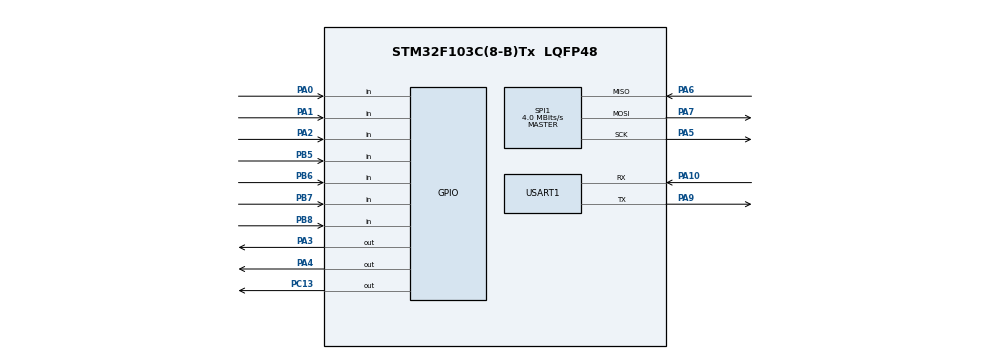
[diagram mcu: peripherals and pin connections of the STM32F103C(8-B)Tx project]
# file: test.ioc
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Mcu.Family=STM32F1
Mcu.Name=STM32F103C(8-B)Tx
Mcu.Package=LQFP48
NVIC.PriorityGroup=NVIC_PRIORITYGROUP_4
PA0-WKUP.Signal=GPIO_Input
PA1.Signal=GPIO_Input
PA10.GPIO_PuPd=GPIO_NOPULL
PA10.Mode=Asynchronous
PA10.Signal=USART1_RX
PA13.Signal=SYS_JTMS-SWDIO
PA14.Signal=SYS_JTCK-SWCLK
PA2.Signal=GPIO_Input
PA3.GPIO_PuPd=GPIO_PULLUP
PA3.PinState=GPIO_PIN_SET
PA3.Signal=GPIO_Output
PA4.PinState=GPIO_PIN_SET
PA4.Signal=GPIO_Output
PA5.Mode=Full_Duplex_Master
PA5.Signal=SPI1_SCK
PA6.Mode=Full_Duplex_Master
PA6.Signal=SPI1_MISO
PA7.Mode=Full_Duplex_Master
PA7.Signal=SPI1_MOSI
PA9.Mode=Asynchronous
PA9.Signal=USART1_TX
PB5.GPIO_PuPd=GPIO_PULLUP
PB5.Signal=GPIO_Input
PB6.GPIO_PuPd=GPIO_PULLUP
PB6.Signal=GPIO_Input
PB7.GPIO_PuPd=GPIO_PULLUP
PB7.Signal=GPIO_Input
PB8.GPIO_PuPd=GPIO_PULLUP
PB8.Signal=GPIO_Input
PC13-TAMPER-RTC.GPIO_PuPd=GPIO_NOPULL
PC13-TAMPER-RTC.PinState=GPIO_PIN_SET
PC13-TAMPER-RTC.Signal=GPIO_Output
ProjectManager.HeapSize=0x200
ProjectManager.StackSize=0x400
ProjectManager.TargetToolchain=EWARM V8.32
RCC.APB1Freq_Value=8000000
RCC.APB2Freq_Value=8000000
SPI1.CalculateBaudRate=4.0 MBits/s
SPI1.Direction=SPI_DIRECTION_2LINES
SPI1.Mode=SPI_MODE_MASTER
SPI1.VirtualType=VM_MASTER
USART1.VirtualMode=VM_ASYNC
VP_SYS_VS_ND.Mode=No_Debug
board=custom

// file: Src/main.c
/* USER CODE BEGIN Header */
/**
******************************************************************************
* @file           : main.c
* @brief          : Main program body
******************************************************************************
* @attention
*
* <h2><center>&copy; Copyright (c) 2020 STMicroelectronics.
* All rights reserved.</center></h2>
*
* This software component is licensed by ST under BSD 3-Clause license,
* the "License"; You may not use this file except in compliance with the
* License. You may obtain a copy of the License at:
*                        opensource.org/licenses/BSD-3-Clause
*
******************************************************************************
*/
/* USER CODE END Header */

#include "main.h"
#include "spi.h"
#include "usart.h"
#include "gpio.h"

/* USER CODE BEGIN Includes */

//lora
#include "platform.h"
#include "radio.h"
#include "sx1276-Hal.h"
#include "sx1276-LoRa.h"
#include "sx1276-LoRaMisc.h"

/* USER CODE END Includes */

/* USER CODE BEGIN PD */

#define BUFFERSIZE 5

#define SLAVENUM 0

/* USER CODE END PD */

/* USER CODE BEGIN PV */

uint8_t RegVersion = 0;

uint8_t data_frame_rev[BUFFERSIZE] = "";//收到数据暂存数组
uint8_t data_frame_send[BUFFERSIZE] = "2";//发送数据暂存数组
uint16_t sizeof_data_frame = BUFFERSIZE;

//lora设备初始化的返回值
tRadioDriver *Radio = NULL;

//FDMA相关参数
//2^32 = 4,294,967,296，fre[0]（0号频率）是公共频道
uint32_t fre[] = {470000000, 472000000, 474000000, 476000000};//目前只设置3个频道
uint8_t fre_used = 0x01;//二进制第n位标识fre[n]是否被占用，1标识占用
//
////占用频道指令 0字节：标志位0 1字节：占用频率  2字节：接收方地址0
////接收方地址0: 对应从机设备号，这个是定死的！一对设备只有唯一一个（可以用Lora的设备号来做）
//uint8_t cmd_zy[BUFFERSIZE] = "000";
//uint16_t sizeof_cmd_zy = BUFFERSIZE;//SX1276SetTxPacket这个函数参数是这样规定的，避免warning
//
////释放频道指令 0字节：标志位0 1字节：释放频率
//uint8_t cmd_sf[BUFFERSIZE] = "10";
//uint16_t sizeof_cmd_sf = BUFFERSIZE;
//
//
//uint8_t data_frame[BUFFERSIZE] = "";//收到的数据暂存在这，第一个字节为2标识是通信数据
//uint16_t sizeof_data_frame = BUFFERSIZE;

//控制指令码 1:前进 2：后退 3：左转    4：右转
uint8_t cmd_control[BUFFERSIZE] = "";

//本机地址
uint8_t slave_num = SLAVENUM;

//当前使用的频率
uint8_t fre_now = 0;

//extern tLoRaSettings LoRaSettings;

/* USER CODE END PV */

void SystemClock_Config(void);

/* USER CODE BEGIN 0 */

//传入参数i为0，表示关灯，1表示开灯
void led(uint8_t i)
{
  if(i)
    HAL_GPIO_WritePin(GPIOC, GPIO_PIN_13, GPIO_PIN_RESET);
  else
    HAL_GPIO_WritePin(GPIOC, GPIO_PIN_13, GPIO_PIN_SET);
}

void slave_task()
{
  switch(Radio->Process())
  {
  case RF_RX_DONE:

    Radio->GetRxPacket(data_frame_rev, &sizeof_data_frame);

    if(data_frame_rev[0] == '0')//占用频率指令 0字节：0标志位 1字节：占用频率  2字节：接收方地址
    {
      //只需要更改自己的频率使用表，其他的不管（因为这里是主机，主机不可能被当作请求的接收方的）
      led(0);
      printf("SLAVE send cmd_zy---cmd_code: %c, fre: %c, request_slave_addr: %c---\r\n", data_frame_rev[0], data_frame_rev[1], data_frame_rev[2]);;
      printf("---Local addr: %d\r\n", slave_num);
      fre_used = fre_used | (0x01 << (data_frame_rev[1] - '0'));//更新频率使用表

      if(data_frame_rev[2] == (slave_num + '0'))
      {
        LoRaSettings.RFFrequency = fre[ (data_frame_rev[1] - '0') ];//更改自己的频率

//        LoRaSettings.RFFrequency = 472000000;
        Radio = RadioDriverInit();
        Radio->Init();

        fre_now = data_frame_rev[1] - '0';

        HAL_Delay(500);//延时，防止出现主机还没有准备好的情况
        data_frame_send[1] = '1';
        Radio->SetTxPacket(data_frame_send, sizeof_data_frame);//回复数据
//        HAL_Delay(5000);
////          并不能用，这个用了反而会导致主机收不到返回的数据，具体内部细节就先不去追究了
//        Radio->Process();//强制刷新
//        Radio->StartRx();//发完之后立马进入接受状态
        printf("SLAVE send cmd_zy_back---cmd_code:%c, back_num:%c(1:yes,0:no)---\r\n", data_frame_send[0], data_frame_send[1]);

      }

    }
    else if(data_frame_rev[0] == '1')//释放频率指令  0字节：0标志位 1字节：释放频率
    {

      fre_used = fre_used & (~(0x01 << (data_frame_rev[1] - '0')));//更新频率使用表
      Radio->StartRx();//继续回到接收状态

    }
    else if(data_frame_rev[0] == '3')//主机发来的数据
    {
      if(data_frame_rev[1] == '1')//命令1：前进
      {
        printf("SLAVE rev cmd_control---cmd_code: %c, control: %c(1:qian,2:hou)---\r\n",data_frame_rev[0], data_frame_rev[1]);
        //使用led闪亮2下，标识前进
        led(0);
        HAL_Delay(500);//延时
        led(1);
        HAL_Delay(500);//延时
        led(0);
        HAL_Delay(500);//延时
        led(1);
        HAL_Delay(500);//延时

        //不需要接收主机的释放指令了
        //释放当前使用的频率
        fre_used = fre_used & (~(0x01 << fre_now));

        //更改当前频率为公共频率
        LoRaSettings.RFFrequency = fre[ 0 ];
        Radio = RadioDriverInit();
        Radio->Init();

        Radio->StartRx();//此次通信结束，进入接收状态等待下一次通信
        printf("---End of this communication---\r\n");//结束本次通信

      }
    }

    break;

  case RF_TX_DONE:

    Radio->StartRx();//发完之后立马进入接受状态
    led(1);//等待接收的时候led亮

    break;

  default:

    break;
  }
}

/* USER CODE END 0 */

int main(void)
{

  /* MCU Configuration--------------------------------------------------------*/

  /* Reset of all peripherals, Initializes the Flash interface and the Systick. */
  HAL_Init();

  /* Configure the system clock */
  SystemClock_Config();

  /* Initialize all configured peripherals */
  MX_GPIO_Init();
  MX_SPI1_Init();
  MX_USART1_UART_Init();

  /* Infinite loop */
  /* USER CODE BEGIN WHILE */

  printf("Hello World!\r\n");

  SX1276Read( REG_LR_VERSION, &RegVersion );
  if(RegVersion != 0x12)
  {
    printf("get RegVersion error, RegVersion = %#x\r\n", RegVersion);
  }
  else
  {
    printf("get RegVersion success, RegVersion = %#x\r\n", RegVersion);
  }

  //sx1278初始化
  Radio = RadioDriverInit();
  Radio->Init();

  //初始化之后默认进入接收状态
  Radio->StartRx();
  led(1);//等待接收的时候led亮
  printf("SLAVE start rev \r\n");

  while (1)
  {

    slave_task();

    /* USER CODE END WHILE */

  }
}

void SystemClock_Config(void)
{
  RCC_OscInitTypeDef RCC_OscInitStruct = {0};
  RCC_ClkInitTypeDef RCC_ClkInitStruct = {0};

  /** Initializes the CPU, AHB and APB busses clocks
  */
  RCC_OscInitStruct.OscillatorType = RCC_OSCILLATORTYPE_HSI;
  RCC_OscInitStruct.HSIState = RCC_HSI_ON;
  RCC_OscInitStruct.HSICalibrationValue = RCC_HSICALIBRATION_DEFAULT;
  RCC_OscInitStruct.PLL.PLLState = RCC_PLL_NONE;
  if (HAL_RCC_OscConfig(&RCC_OscInitStruct) != HAL_OK)
  {
    Error_Handler();
  }
  /** Initializes the CPU, AHB and APB busses clocks
  */
  RCC_ClkInitStruct.ClockType = RCC_CLOCKTYPE_HCLK|RCC_CLOCKTYPE_SYSCLK
    |RCC_CLOCKTYPE_PCLK1|RCC_CLOCKTYPE_PCLK2;
  RCC_ClkInitStruct.SYSCLKSource = RCC_SYSCLKSOURCE_HSI;
  RCC_ClkInitStruct.AHBCLKDivider = RCC_SYSCLK_DIV1;
  RCC_ClkInitStruct.APB1CLKDivider = RCC_HCLK_DIV1;
  RCC_ClkInitStruct.APB2CLKDivider = RCC_HCLK_DIV1;

  if (HAL_RCC_ClockConfig(&RCC_ClkInitStruct, FLASH_LATENCY_0) != HAL_OK)
  {
    Error_Handler();
  }
}

/* USER CODE BEGIN 4 */

//重定向串口
int fputc(int c, FILE *stream)
{
  while(!(USART1->SR & (1 << 7)));//等待数据发送完成
  USART1->DR = c;//将c赋给串口1的DR寄存器，即重定向到串口，也可以是其他的接口
  return c;
}

/* USER CODE END 4 */

void Error_Handler(void)
{
}

/************************ (C) COPYRIGHT STMicroelectronics *****END OF FILE****/
